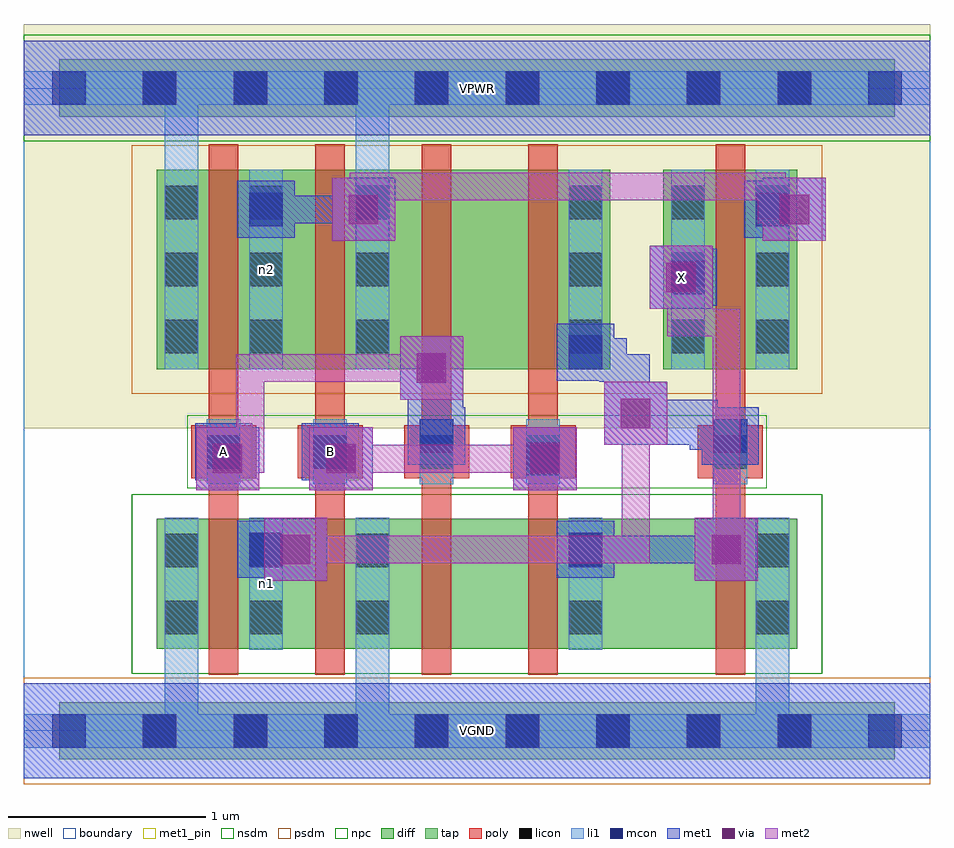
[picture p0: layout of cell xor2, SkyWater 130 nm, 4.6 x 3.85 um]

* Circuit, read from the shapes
.subckt xor2 A B VGND VPWR X n1 n2
XM1 n1 A VGND VGND sky130_fd_pr__nfet_01v8 w=0.66 l=0.15
XM2 VGND B n1 VGND sky130_fd_pr__nfet_01v8 w=0.66 l=0.15
XM3 n3 A VGND VGND sky130_fd_pr__nfet_01v8 w=0.66 l=0.15
XM4 X B n3 VGND sky130_fd_pr__nfet_01v8 w=0.66 l=0.15
XM5 VGND n1 X VGND sky130_fd_pr__nfet_01v8 w=0.66 l=0.15
XM6 n2 A VPWR VPWR sky130_fd_pr__pfet_01v8 w=1.01 l=0.15
XM7 VPWR B n2 VPWR sky130_fd_pr__pfet_01v8 w=1.01 l=0.15
XM8 n4 A VPWR VPWR sky130_fd_pr__pfet_01v8 w=1.01 l=0.15
XM9 n1 B n4 VPWR sky130_fd_pr__pfet_01v8 w=1.01 l=0.15
XM10 n2 n1 X VPWR sky130_fd_pr__pfet_01v8 w=1.01 l=0.15
.ends

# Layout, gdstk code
import gdstk
lib = gdstk.Library(unit=1e-6, precision=1e-09)
def R(c, l, rs):  # rectangles x0, y0, x1, y1
    for r in rs: c.add(gdstk.rectangle(r[:2], r[2:], *l))
def A(c, l, x, y, w, h, nx, ny, dx, dy):  # array of equal rectangles
    R(c, l, [(x+i*dx, y+j*dy, x+i*dx+w, y+j*dy+h) for i in range(nx) for j in range(ny)])
nwell = (64, 20)
diff = (65, 20)
tap = (65, 44)
poly = (66, 20)
licon = (66, 44)
li1 = (67, 20)
mcon = (67, 44)
met1_pin = (68, 16)
met1 = (68, 20)
via = (68, 44)
met2 = (69, 20)
nsdm = (93, 44)
psdm = (94, 20)
npc = (95, 20)
boundary = (235, 4)

xor2 = lib.new_cell('xor2')
R(xor2, nwell, [(0,1.535,4.6,3.585)])
R(xor2, diff, [(0.675,0.415,3.925,1.075), (0.675,1.835,2.975,2.845), (3.245,1.835,3.925,2.845)])
R(xor2, tap, [(0.18,-0.145,4.42,0.145), (0.18,3.115,4.42,3.405)])
A(xor2, poly, 0.94, 0.285, 0.15, 2.69, 4, 1, 0.54, 0)
A(xor2, poly, 0.85, 1.28, 0.33, 0.27, 4, 1, 0.54, 0)
R(xor2, poly, [(3.51,0.285,3.66,2.975), (3.42,1.28,3.75,1.55)])
A(xor2, licon, 0.605, -0.085, 0.17, 0.17, 8, 2, 0.46, 3.26)
A(xor2, licon, 0.93, 1.33, 0.17, 0.17, 4, 1, 0.54, 0)
A(xor2, licon, 0.715, 1.915, 0.17, 0.17, 1, 3, 0, 0.34)
A(xor2, licon, 1.145, 1.915, 0.17, 0.17, 1, 3, 0, 0.34)
A(xor2, licon, 1.685, 1.915, 0.17, 0.17, 1, 3, 0, 0.34)
A(xor2, licon, 2.765, 1.915, 0.17, 0.17, 1, 3, 0, 0.34)
A(xor2, licon, 3.285, 1.915, 0.17, 0.17, 1, 3, 0, 0.34)
A(xor2, licon, 3.715, 1.915, 0.17, 0.17, 1, 3, 0, 0.34)
R(xor2, licon, [(0.715,0.49,0.885,0.66), (1.145,0.49,1.315,0.66), (1.685,0.49,1.855,0.66), (2.765,0.49,2.935,0.66), (3.715,0.49,3.885,0.66), (0.715,0.83,0.885,1), (1.145,0.83,1.315,1), (1.685,0.83,1.855,1), (2.765,0.83,2.935,1), (3.715,0.83,3.885,1), (3.5,1.33,3.67,1.5)])
A(xor2, li1, 0.93, 1.25, 0.17, 0.33, 4, 1, 0.54, 0)
R(xor2, li1, [(0,-0.085,4.6,0.085), (0.715,-0.085,0.885,1.08), (1.685,-0.085,1.855,1.08), (3.715,-0.085,3.885,1.08), (0.715,0.41,0.885,1.08), (1.145,0.41,1.315,1.08), (1.685,0.41,1.855,1.08), (2.765,0.41,2.935,1.08), (3.715,0.41,3.885,1.08), (3.5,1.25,3.67,1.58), (0.715,1.835,0.885,2.845), (0.715,1.835,0.885,3.345), (1.145,1.835,1.315,2.845), (1.685,1.835,1.855,2.845), (1.685,1.835,1.855,3.345), (2.765,1.835,2.935,2.845), (3.285,1.835,3.455,2.845), (3.715,1.835,3.885,2.845), (0,3.175,4.6,3.345)])
A(xor2, mcon, 0.145, -0.085, 0.17, 0.17, 10, 2, 0.46, 3.26)
R(xor2, mcon, [(1.145,0.835,1.315,1.005), (2.765,0.835,2.935,1.005), (2.55,1.295,2.72,1.465), (0.93,1.33,1.1,1.5), (1.47,1.33,1.64,1.5), (2.01,1.41,2.18,1.58), (3.5,1.41,3.67,1.58), (2.765,1.835,2.935,2.005), (3.285,2.215,3.455,2.385), (1.145,2.56,1.315,2.73), (3.715,2.56,3.885,2.73)])
R(xor2, met1_pin, [(0,-0.24,4.6,0.24), (0.87,1.27,1.16,1.56), (1.41,1.27,1.7,1.56), (3.175,2.14,3.495,2.46), (0,3.02,4.6,3.5)])
R(xor2, met1, [(0,-0.24,4.6,0.24), (1.22,0.76,1.54,1.08), (3.405,0.76,3.725,1.08), (1.085,0.775,1.375,1.065), (2.705,0.775,2.995,1.065), (1.16,0.85,1.45,0.99), (2.78,0.85,3.06,0.99), (2.92,0.85,3.635,0.99), (0.875,1.22,1.195,1.54), (1.45,1.22,1.77,1.54), (2.485,1.22,2.805,1.54), (2.49,1.235,2.78,1.525), (0.87,1.27,1.16,1.56), (1.41,1.27,1.7,1.56), (0.965,1.31,1.105,1.45), (1.54,1.31,1.68,1.45), (2.565,1.31,2.715,1.45), (1.95,1.35,2.24,1.64), (3.44,1.35,3.73,1.64), (2,1.425,2.14,1.68), (2,1.425,2.165,1.565), (3.38,1.425,3.655,1.565), (3.38,1.425,3.52,1.68), (2.945,1.45,3.265,1.77), (3.265,1.45,3.38,1.565), (3.265,1.45,3.38,1.68), (2,1.54,2.14,1.91), (3.035,1.54,3.52,1.68), (3.035,1.54,3.175,1.91), (2,1.565,2.165,1.68), (1.95,1.64,2.23,1.68), (1.91,1.68,2.23,2), (2.92,1.77,3.06,1.99), (2.92,1.77,3.175,1.91), (2.705,1.775,2.995,2.065), (2.78,1.85,3.06,1.99), (3.175,2.14,3.495,2.46), (3.225,2.155,3.515,2.445), (3.265,2.23,3.44,2.37), (1.565,2.485,1.885,2.805), (3.75,2.485,4.07,2.805), (1.085,2.5,1.375,2.79), (3.655,2.5,3.945,2.79), (1.16,2.575,1.45,2.715), (1.31,2.575,1.795,2.715), (3.73,2.575,3.98,2.715), (0,3.02,4.6,3.5)])
R(xor2, via, [(1.305,0.845,1.455,0.995), (3.49,0.845,3.64,0.995), (0.96,1.305,1.11,1.455), (1.535,1.305,1.685,1.455), (2.57,1.305,2.72,1.455), (3.03,1.535,3.18,1.685), (1.995,1.765,2.145,1.915), (3.26,2.225,3.41,2.375), (1.65,2.57,1.8,2.72), (3.835,2.57,3.985,2.72)])
R(xor2, met2, [(1.22,0.76,1.54,1.08), (3.405,0.76,3.725,1.08), (1.31,0.85,3.175,0.99), (3.035,0.85,3.175,1.68), (3.495,0.85,3.635,2.14), (0.875,1.22,1.195,1.54), (1.45,1.22,1.77,1.54), (2.485,1.22,2.805,1.54), (0.965,1.31,1.22,1.45), (1.08,1.31,1.22,1.91), (1.54,1.31,2.715,1.45), (2.945,1.45,3.265,1.77), (1.91,1.68,2.23,2), (1.08,1.77,2.14,1.91), (3.265,2,3.405,2.37), (3.265,2,3.635,2.14), (3.175,2.14,3.495,2.46), (1.565,2.485,1.885,2.805), (3.75,2.485,4.07,2.805), (1.655,2.575,1.795,2.83), (3.725,2.575,3.98,2.715), (3.725,2.575,3.865,2.83), (1.655,2.69,3.865,2.83)])
R(xor2, nsdm, [(0.55,0.29,4.05,1.2), (0,2.99,4.6,3.53)])
R(xor2, psdm, [(0,-0.27,4.6,0.27), (0.55,1.71,4.05,2.97)])
R(xor2, npc, [(0.83,1.23,3.77,1.6)])
R(xor2, boundary, [(0,0,4.6,3.26)])
xor2.add(gdstk.Label('n1', (1.23,0.745), layer=67, texttype=5))
xor2.add(gdstk.Label('n2', (1.23,2.34), layer=67, texttype=5))
xor2.add(gdstk.Label('A', (1.015,1.415), layer=68, texttype=5))
xor2.add(gdstk.Label('B', (1.555,1.415), layer=68, texttype=5))
xor2.add(gdstk.Label('X', (3.335,2.3), layer=68, texttype=5))
xor2.add(gdstk.Label('VPWR', (2.3,3.26), layer=68, texttype=5))
xor2.add(gdstk.Label('VGND', (2.3,0), layer=68, texttype=5))
xor2.add(gdstk.Label('A', (1.015,1.415), layer=68, texttype=16))
xor2.add(gdstk.Label('B', (1.555,1.415), layer=68, texttype=16))
xor2.add(gdstk.Label('X', (3.335,2.3), layer=68, texttype=16))
xor2.add(gdstk.Label('VPWR', (2.3,3.26), layer=68, texttype=16))
xor2.add(gdstk.Label('VGND', (2.3,0), layer=68, texttype=16))

lib.write_gds('xor2.gds')
